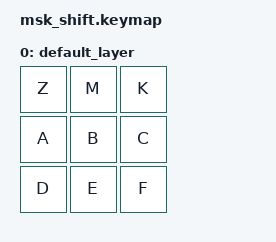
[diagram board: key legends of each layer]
/*
 * Copyright (c) 2020 The ZMK Contributors
 *
 * SPDX-License-Identifier: MIT
 */

#include <behaviors.dtsi>
#include <dt-bindings/zmk/keys.h>

/ {
    keymap {
        compatible = "zmk,keymap";

        default_layer { // Layer 0
            // -------------------------------------
            // |     Z     |     M     |     K     |
            // |     A     |     B     |     C     |
            // |     D     |     E     |     F     |
            bindings = <
                &kp Z    &kp M    &kp K
                &kp A    &kp B    &kp C
                &kp D    &kp E    &kp F
            >;
        };
    };
 };
